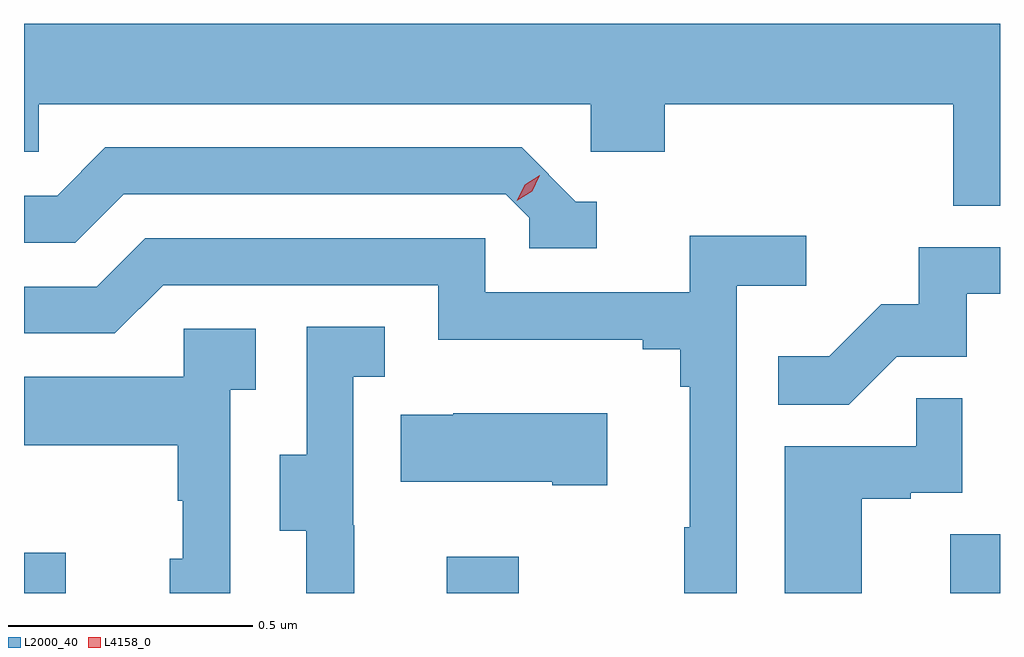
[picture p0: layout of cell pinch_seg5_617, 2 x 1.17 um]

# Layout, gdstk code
import gdstk
lib = gdstk.Library(unit=1e-6, precision=1e-09)
def R(c, l, rs):  # rectangles x0, y0, x1, y1
    for r in rs: c.add(gdstk.rectangle(r[:2], r[2:], *l))
def P(c, l, *ps):  # polygons
    for p in ps: c.add(gdstk.Polygon(p, *l))
L2000_40 = (2000, 40)
L4158_0 = (4158, 0)

pinch_seg5_617 = lib.new_cell('pinch_seg5_617')
R(pinch_seg5_617, L2000_40, [(1037.577,867.746,1037.663,867.829), (1038.443,867.746,1038.591,867.82), (1039.475,867.746,1039.577,867.866)])
P(pinch_seg5_617, L2000_40, [(1039.577,868.912),(1037.577,868.912),(1037.577,868.65),(1037.607,868.65),(1037.607,868.748),(1038.738,868.748),(1038.738,868.65),(1038.89,868.65),(1038.89,868.748),(1039.481,868.748),(1039.481,868.54),(1039.577,868.54)],
  [(1038.751,868.548),(1038.708,868.548),(1038.597,868.659),(1037.744,868.659),(1037.645,868.56),(1037.577,868.56),(1037.577,868.464),(1037.682,868.464),(1037.781,868.563),(1038.564,868.563),(1038.612,868.515),(1038.612,868.452),(1038.751,868.452)],
  [(1039.038,868.376),(1039.18,868.376),(1039.18,868.478),(1038.941,868.478),(1038.941,868.362),(1038.522,868.362),(1038.522,868.473),(1037.825,868.473),(1037.726,868.374),(1037.577,868.374),(1037.577,868.278),(1037.763,868.278),(1037.862,868.377),(1038.426,868.377),(1038.426,868.265),(1038.845,868.265),(1038.845,868.246),(1038.922,868.246),(1038.922,868.169),(1038.941,868.169),(1038.941,867.881),(1038.93,867.881),(1038.93,867.746),(1039.038,867.746)],
  [(1039.365,868.23),(1039.509,868.23),(1039.509,868.359),(1039.577,868.359),(1039.577,868.455),(1039.411,868.455),(1039.411,868.338),(1039.334,868.338),(1039.227,868.231),(1039.123,868.231),(1039.123,868.132),(1039.267,868.132)],
  [(1038.254,867.885),(1038.252,867.885),(1038.252,868.189),(1038.316,868.189),(1038.316,868.292),(1038.156,868.292),(1038.156,868.029),(1038.101,868.029),(1038.101,867.874),(1038.155,867.874),(1038.155,867.746),(1038.254,867.746)],
  [(1038,868.163),(1038.052,868.163),(1038.052,868.287),(1037.904,868.287),(1037.904,868.189),(1037.577,868.189),(1037.577,868.049),(1037.892,868.049),(1037.892,867.935),(1037.902,867.935),(1037.902,867.816),(1037.876,867.816),(1037.876,867.746),(1038,867.746)],
  [(1039.294,867.939),(1039.394,867.939),(1039.394,867.951),(1039.5,867.951),(1039.5,868.145),(1039.405,868.145),(1039.405,868.047),(1039.136,868.047),(1039.136,867.746),(1039.294,867.746)],
  [(1038.772,868.114),(1038.457,868.114),(1038.457,868.111),(1038.349,868.111),(1038.349,867.974),(1038.659,867.974),(1038.659,867.967),(1038.772,867.967)])
P(pinch_seg5_617, L4158_0, [(1038.587,868.55),(1038.587,868.55),(1038.603,868.583),(1038.634,868.602),(1038.634,868.602),(1038.634,868.602),(1038.618,868.569),(1038.587,868.55)])

lib.write_gds('pinch_seg5_617.gds')
